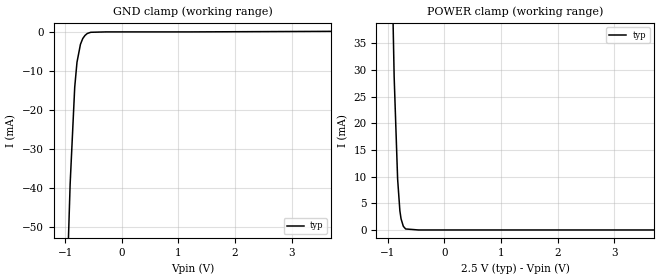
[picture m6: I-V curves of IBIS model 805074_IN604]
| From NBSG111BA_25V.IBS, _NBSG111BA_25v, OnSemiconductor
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| COPYRIGHT(C) MENTOR GRAPHICS CORPORATION 2001 ALL
| RIGHTS RESERVED. THIS WORK CONTAINS PROPRIETARY
| INFORMATION WHICH IS THE PROPERTY OF MENTOR GRAPHICS
| CORPORATION OR ITS LICENSORS. USE OF THESE MATERIALS
| IS SUBJECT TO THE TERMS BELOW.
| USE: YOU MAY USE IBIS MODELS SOLELY FOR DEVELOPING
| PRINTED CIRCUIT BOARD DESIGNS. NO OTHER USE OR
| DISTRIBUTION OF THESE MATERIALS IS PERMITTED.
| Model Application Version 1.89 2/18/99.
[Model] 805074_IN604
Model_type Input
Vinl = 700.0mV
Vinh = 1.700V
C_comp 500.0fF NA NA
| variable typ   min   max
[Voltage Range] 2.500V NA NA
[GND Clamp Reference] 0.000V NA NA
[POWER Clamp Reference] 2.500V NA NA
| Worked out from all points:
|   GND clamp passes 1 mA (typ) near -0.65 V on its own axis
|   POWER clamp passes 1 mA (typ) near -0.73 V on its own axis
[GND Clamp]
-2.5V     -903.9mA   NA         NA
-1.034V   -96mA      NA         NA
-912mV    -39.1mA    NA         NA
-831mV    -14.2mA    NA         NA
-791mV    -7.8mA     NA         NA
-730mV    -3.2mA     NA         NA
-689mV    -1.7mA     NA         NA
-649mV    -900uA     NA         NA
-608mV    -400uA     NA         NA
-547mV    -100uA     NA         NA
-273.5mV  0A         NA         NA
5V        215.9uA    NA         NA
[POWER Clamp]
-2.5V     1.128A     NA         NA
-1.027V   104.9mA    NA         NA
-885mV    28.68mA    NA         NA
-824mV    9.58mA     NA         NA
-784mV    3.583mA    NA         NA
-763mV    2.084mA    NA         NA
-723mV    686.1uA    NA         NA
-682mV    188.4uA    NA         NA
-454.7mV  0A         NA         NA
5V        0A         NA         NA
